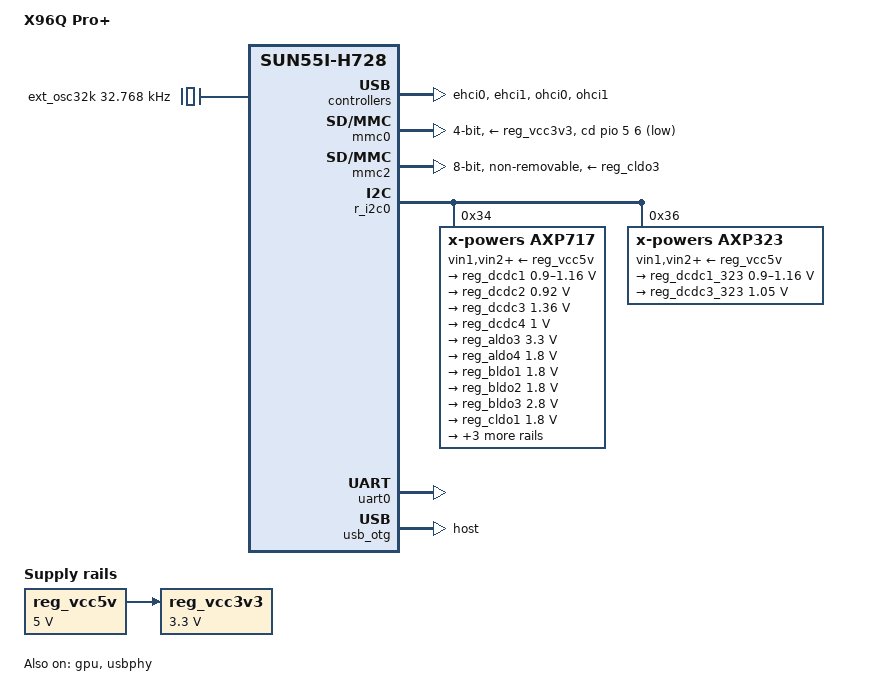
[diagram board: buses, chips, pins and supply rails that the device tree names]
// SPDX-License-Identifier: (GPL-2.0-only OR MIT)
// Copyright (C) 2024 Arm Ltd.

/dts-v1/;

#include "sun55i-a523.dtsi"

#include <dt-bindings/gpio/gpio.h>

/ {
	model = "X96Q Pro+";
	compatible = "amediatech,x96q-pro-plus", "allwinner,sun55i-h728";

	aliases {
		serial0 = &uart0;
	};

	chosen {
		stdout-path = "serial0:115200n8";
	};

	ext_osc32k: ext-osc32k-clk {
		#clock-cells = <0>;
		compatible = "fixed-clock";
		clock-frequency = <32768>;
		clock-output-names = "ext_osc32k";
	};

	reg_vcc5v: vcc5v {
		/* board wide 5V supply from the barrel plug */
		compatible = "regulator-fixed";
		regulator-name = "vcc-5v";
		regulator-min-microvolt = <5000000>;
		regulator-max-microvolt = <5000000>;
		regulator-always-on;
	};

	reg_vcc3v3: vcc3v3 {
		/* 3.3V dummy supply for the SD card */
		compatible = "regulator-fixed";
		regulator-name = "vcc-3v3";
		regulator-min-microvolt = <3300000>;
		regulator-max-microvolt = <3300000>;
		vin-supply = <&reg_vcc5v>;
		regulator-always-on;
	};
};

&ehci0 {
	status = "okay";
};

&ehci1 {
	status = "okay";
};

&gpu {
	mali-supply = <&reg_dcdc2>;
	status = "okay";
};

&mmc0 {
	vmmc-supply = <&reg_vcc3v3>;
	cd-gpios = <&pio 5 6 (GPIO_ACTIVE_LOW | GPIO_PULL_UP)>; /* PF6 */
	bus-width = <4>;
	disable-wp;
	status = "okay";
};

&mmc2 {
	vmmc-supply = <&reg_cldo3>;
	vqmmc-supply = <&reg_cldo1>;
	bus-width = <8>;
	non-removable;
	cap-mmc-hw-reset;
	mmc-ddr-1_8v;
	mmc-hs200-1_8v;
	status = "okay";
};

&ohci0 {
	status = "okay";
};

&ohci1 {
	status = "okay";
};

&pio {
	vcc-pb-supply = <&reg_cldo3>;	/* via VCC-IO */
	vcc-pc-supply = <&reg_cldo1>;
	vcc-pd-supply = <&reg_dcdc4>;
	vcc-pe-supply = <&reg_dcdc4>;
	vcc-pf-supply = <&reg_cldo3>;	/* actually switchable */
	vcc-pg-supply = <&reg_bldo1>;
	vcc-ph-supply = <&reg_cldo3>;	/* via VCC-IO */
	vcc-pi-supply = <&reg_dcdc4>;
	vcc-pj-supply = <&reg_dcdc4>;
	vcc-pk-supply = <&reg_bldo3>;
};

&r_i2c0 {
	status = "okay";

	axp717: pmic@34 {
		compatible = "x-powers,axp717";
		reg = <0x34>;
		interrupt-controller;
		#interrupt-cells = <1>;
		interrupt-parent = <&nmi_intc>;
		interrupts = <0 IRQ_TYPE_LEVEL_LOW>;

		vin1-supply = <&reg_vcc5v>;
		vin2-supply = <&reg_vcc5v>;
		vin3-supply = <&reg_vcc5v>;
		vin4-supply = <&reg_vcc5v>;
		aldoin-supply = <&reg_vcc5v>;
		bldoin-supply = <&reg_vcc5v>;
		cldoin-supply = <&reg_vcc5v>;

		regulators {
			/* Supplies the "little" cluster (1.0(?) GHz cores) */
			reg_dcdc1: dcdc1 {
				regulator-always-on;
				regulator-min-microvolt = <900000>;
				regulator-max-microvolt = <1160000>;
				regulator-name = "vdd-cpul";
			};

			reg_dcdc2: dcdc2 {
				regulator-always-on;
				regulator-min-microvolt = <920000>;
				regulator-max-microvolt = <920000>;
				regulator-name = "vdd-gpu-sys";
			};

			reg_dcdc3: dcdc3 {
				regulator-always-on;
				regulator-min-microvolt = <1360000>;
				regulator-max-microvolt = <1360000>;
				regulator-name = "vdd-dram";
			};

			reg_dcdc4: dcdc4 {
				regulator-min-microvolt = <1000000>;
				regulator-max-microvolt = <1000000>;
				regulator-name = "vdd-dcdc4";
			};

			reg_aldo1: aldo1 {
				/* not connected */
			};

			reg_aldo2: aldo2 {
				/* not connected */
			};

			reg_aldo3: aldo3 {
				regulator-always-on;
				regulator-min-microvolt = <3300000>;
				regulator-max-microvolt = <3300000>;
				regulator-name = "vcc-aldo3";
			};

			reg_aldo4: aldo4 {
				regulator-always-on;
				regulator-min-microvolt = <1800000>;
				regulator-max-microvolt = <1800000>;
				regulator-name = "vcc-pll-dxco-avcc";
			};

			reg_bldo1: bldo1 {
				regulator-min-microvolt = <1800000>;
				regulator-max-microvolt = <1800000>;
				regulator-name = "vcc-pg-wifi-lvds";
			};

			reg_bldo2: bldo2 {
				regulator-always-on;
				regulator-min-microvolt = <1800000>;
				regulator-max-microvolt = <1800000>;
				regulator-name = "vcc-dram-1v8";
			};

			reg_bldo3: bldo3 {
				regulator-min-microvolt = <2800000>;
				regulator-max-microvolt = <2800000>;
				regulator-name = "vcc-bldo3";
			};

			reg_bldo4: bldo4 {
				/* not connected */
			};

			reg_cldo1: cldo1 {
				regulator-always-on;
				regulator-min-microvolt = <1800000>;
				regulator-max-microvolt = <1800000>;
				regulator-name = "vcc-codec-sd";
			};

			reg_cldo2: cldo2 {
			};

			reg_cldo3: cldo3 {
				regulator-min-microvolt = <3300000>;
				regulator-max-microvolt = <3300000>;
				regulator-name = "vcc-codec-eth-sd";
			};

			reg_cldo4: cldo4 {
				regulator-min-microvolt = <3300000>;
				regulator-max-microvolt = <3300000>;
				regulator-name = "vcc-eth-phy";
			};

			reg_cpusldo: cpusldo {
				/* supplies the management core */
				regulator-always-on;
				regulator-min-microvolt = <900000>;
				regulator-max-microvolt = <900000>;
				regulator-name = "vdd-cpus";
			};
		};
	};

	axp323: pmic@36 {
		compatible = "x-powers,axp323";
		reg = <0x36>;
		#interrupt-cells = <1>;
		interrupt-controller;
		interrupt-parent = <&nmi_intc>;
		interrupts = <0 IRQ_TYPE_LEVEL_LOW>;
		status = "okay";

		vin1-supply = <&reg_vcc5v>;
		vin2-supply = <&reg_vcc5v>;
		vin3-supply = <&reg_vcc5v>;

		regulators {
			aldo1 {
				/* not connected */
			};

			dldo1 {
				/* not connected */
			};

			/* Supplies the "big" cluster (1.8 GHz cores) */
			reg_dcdc1_323: dcdc1 {
				regulator-always-on;
				regulator-min-microvolt = <900000>;
				regulator-max-microvolt = <1160000>;
				regulator-name = "vdd-cpub";
			};

			/* DCDC2 is polyphased with DCDC1 */

			reg_dcdc3_323: dcdc3 {
				regulator-always-on;
				regulator-min-microvolt = <1050000>;
				regulator-max-microvolt = <1050000>;
				regulator-name = "vdd-dcdc3";
			};
		};
	};
};

&r_pio {
/*
 * Specifying the supply would create a circular dependency.
 *
 *	vcc-pl-supply = <&reg_aldo3>;
 */
	vcc-pm-supply = <&reg_aldo3>;
};

&uart0 {
	pinctrl-names = "default";
	pinctrl-0 = <&uart0_pb_pins>;
	status = "okay";
};

&usb_otg {
	/* USB0 is a USB-A receptacle, always powered, so force host mode. */
	dr_mode = "host";
	status = "okay";
};

&usbphy {
	status = "okay";
};
